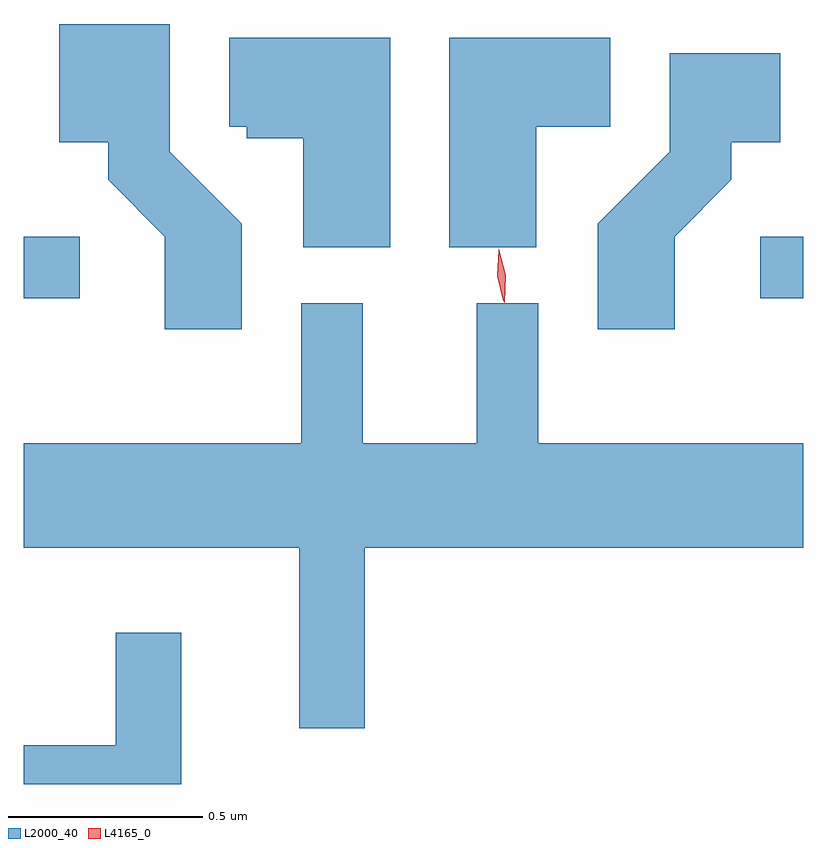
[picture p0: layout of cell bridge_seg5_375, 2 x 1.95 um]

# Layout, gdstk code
import gdstk
lib = gdstk.Library(unit=1e-6, precision=1e-09)
def R(c, l, rs):  # rectangles x0, y0, x1, y1
    for r in rs: c.add(gdstk.rectangle(r[:2], r[2:], *l))
def P(c, l, *ps):  # polygons
    for p in ps: c.add(gdstk.Polygon(p, *l))
L2000_40 = (2000, 40)
L4165_0 = (4165, 0)

bridge_seg5_375 = lib.new_cell('bridge_seg5_375')
R(bridge_seg5_375, L2000_40, [(724.054,1415.256,724.198,1415.414), (725.943,1415.256,726.054,1415.414)])
P(bridge_seg5_375, L2000_40, [(724.614,1415.447),(724.429,1415.632),(724.429,1415.959),(724.146,1415.959),(724.146,1415.656),(724.271,1415.656),(724.271,1415.559),(724.416,1415.414),(724.416,1415.176),(724.614,1415.176)],
  [(724.994,1415.924),(724.581,1415.924),(724.581,1415.696),(724.626,1415.696),(724.626,1415.666),(724.771,1415.666),(724.771,1415.386),(724.994,1415.386)],
  [(725.369,1415.696),(725.559,1415.696),(725.559,1415.924),(725.146,1415.924),(725.146,1415.386),(725.369,1415.386)],
  [(725.724,1415.414),(725.869,1415.559),(725.869,1415.656),(725.994,1415.656),(725.994,1415.884),(725.711,1415.884),(725.711,1415.632),(725.526,1415.447),(725.526,1415.176),(725.724,1415.176)],
  [(724.929,1414.616),(726.054,1414.616),(726.054,1414.884),(725.374,1414.884),(725.374,1415.243),(725.216,1415.243),(725.216,1414.884),(724.924,1414.884),(724.924,1415.243),(724.766,1415.243),(724.766,1414.884),(724.054,1414.884),(724.054,1414.616),(724.761,1414.616),(724.761,1414.153),(724.929,1414.153)],
  [(724.459,1414.398),(724.291,1414.398),(724.291,1414.109),(724.054,1414.109),(724.054,1414.01),(724.459,1414.01)])
P(bridge_seg5_375, L4165_0, [(725.287,1415.245),(725.287,1415.246),(725.27,1415.313),(725.272,1415.382),(725.272,1415.383),(725.273,1415.382),(725.29,1415.315),(725.288,1415.246)],
  [(725.285,1415.248),(725.284,1415.249),(725.269,1415.313),(725.272,1415.379),(725.272,1415.38),(725.273,1415.379),(725.288,1415.315),(725.286,1415.249)])

lib.write_gds('bridge_seg5_375.gds')
